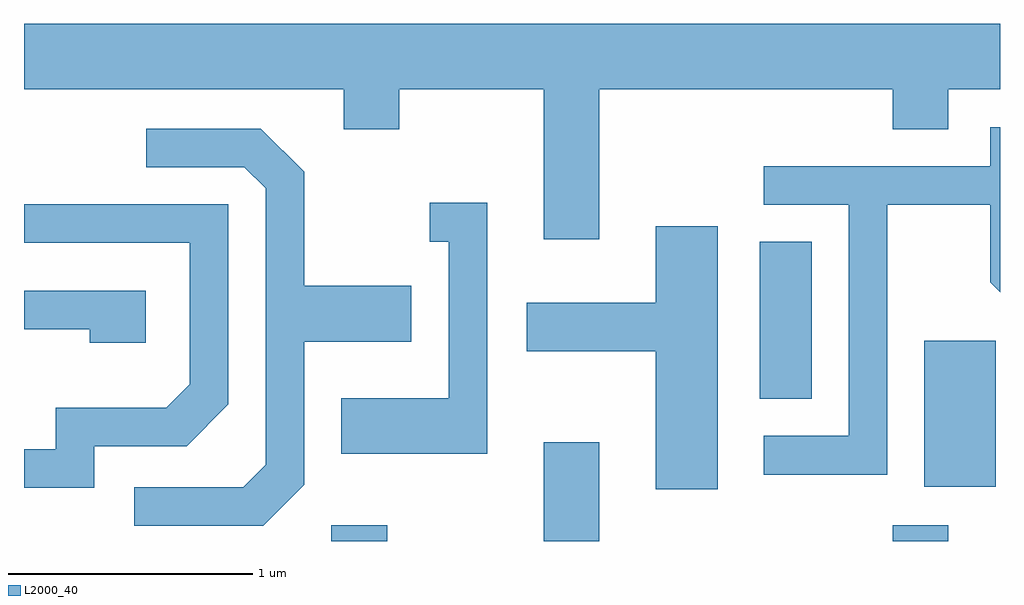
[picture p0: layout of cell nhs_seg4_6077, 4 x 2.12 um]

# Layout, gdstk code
import gdstk
lib = gdstk.Library(unit=1e-6, precision=1e-09)
def R(c, l, rs):  # rectangles x0, y0, x1, y1
    for r in rs: c.add(gdstk.rectangle(r[:2], r[2:], *l))
def P(c, l, *ps):  # polygons
    for p in ps: c.add(gdstk.Polygon(p, *l))
L2000_40 = (2000, 40)

nhs_seg4_6077 = lib.new_cell('nhs_seg4_6077')
R(nhs_seg4_6077, L2000_40, [(364.871,1303.982,365.099,1304.049), (365.741,1303.982,365.969,1304.389), (367.171,1303.982,367.399,1304.049), (367.301,1304.206,367.594,1304.804), (366.626,1304.566,366.839,1305.209)])
P(nhs_seg4_6077, L2000_40, [(365.969,1305.836),(367.171,1305.836),(367.171,1305.671),(367.399,1305.671),(367.399,1305.836),(367.611,1305.836),(367.611,1306.104),(363.611,1306.104),(363.611,1305.836),(364.921,1305.836),(364.921,1305.671),(365.149,1305.671),(365.149,1305.836),(365.741,1305.836),(365.741,1305.221),(365.969,1305.221)],
  [(367.149,1305.361),(367.571,1305.361),(367.571,1305.044),(367.611,1305.004),(367.611,1305.679),(367.571,1305.679),(367.571,1305.519),(366.643,1305.519),(366.643,1305.361),(366.991,1305.361),(366.991,1304.414),(366.643,1304.414),(366.643,1304.256),(367.149,1304.256)],
  [(364.759,1304.214),(364.759,1304.801),(365.199,1304.801),(365.199,1305.029),(364.759,1305.029),(364.759,1305.497),(364.582,1305.674),(364.113,1305.674),(364.113,1305.516),(364.514,1305.516),(364.601,1305.429),(364.601,1304.297),(364.509,1304.204),(364.063,1304.204),(364.063,1304.046),(364.592,1304.046)],
  [(365.509,1305.369),(365.273,1305.369),(365.273,1305.211),(365.351,1305.211),(365.351,1304.569),(364.911,1304.569),(364.911,1304.341),(365.509,1304.341)],
  [(363.899,1304.371),(364.277,1304.371),(364.449,1304.544),(364.449,1305.364),(363.611,1305.364),(363.611,1305.206),(364.291,1305.206),(364.291,1304.627),(364.194,1304.529),(363.741,1304.529),(363.741,1304.359),(363.611,1304.359),(363.611,1304.201),(363.899,1304.201)],
  [(366.454,1305.274),(366.201,1305.274),(366.201,1304.959),(365.671,1304.959),(365.671,1304.761),(366.201,1304.761),(366.201,1304.196),(366.454,1304.196)],
  [(364.109,1305.009),(363.611,1305.009),(363.611,1304.851),(363.881,1304.851),(363.881,1304.796),(364.109,1304.796)])

lib.write_gds('nhs_seg4_6077.gds')
